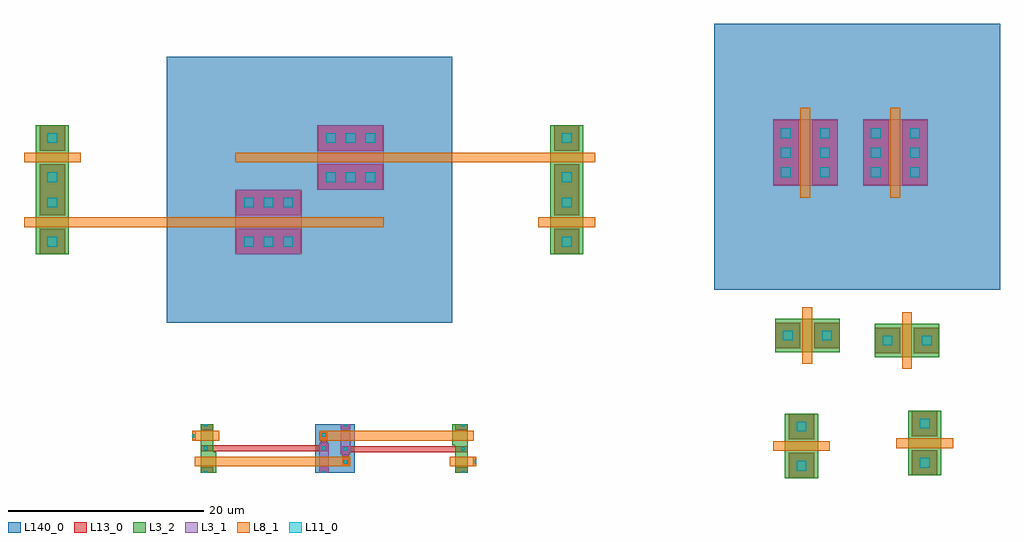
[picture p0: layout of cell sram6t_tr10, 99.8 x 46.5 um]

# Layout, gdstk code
from math import pi, radians
import gdstk
lib = gdstk.Library(unit=1e-6, precision=1e-09)
def R(c, l, rs):  # rectangles x0, y0, x1, y1
    for r in rs: c.add(gdstk.rectangle(r[:2], r[2:], *l))
def A(c, l, x, y, w, h, nx, ny, dx, dy):  # array of equal rectangles
    R(c, l, [(x+i*dx, y+j*dy, x+i*dx+w, y+j*dy+h) for i in range(nx) for j in range(ny)])
def P(c, l, *ps):  # polygons
    for p in ps: c.add(gdstk.Polygon(p, *l))
L3_1 = (3, 1)
L3_2 = (3, 2)
L8_1 = (8, 1)
L11_0 = (11, 0)
L13_0 = (13, 0)
L140_0 = (140, 0)

fet_p = lib.new_cell('fet_p')
R(fet_p, L3_1, [(-3.3,-3.4,3.3,3.4)])
A(fet_p, L11_0, -2.5, -2.5, 1, 1, 1, 3, 0, 2)
A(fet_p, L11_0, 1.5, -2.5, 1, 1, 1, 3, 0, 2)
R(fet_p, L13_0, [(-3.3,-3.3,-0.7,3.3), (0.7,-3.3,3.3,3.3)])
fet_p.add(gdstk.FlexPath([(0,-4.6),(0,4.6)], 1, ends="flush", simple_path=True, layer=8, datatype=1))  # L8_1

fet_n = lib.new_cell('fet_n')
R(fet_n, L3_2, [(-3.3,-1.7,3.3,1.7)])
R(fet_n, L11_0, [(-2.5,-0.5,-1.5,0.5), (1.5,-0.5,2.5,0.5)])
R(fet_n, L13_0, [(-3.3,-1.3,-0.7,1.3), (0.7,-1.3,3.3,1.3)])
fet_n.add(gdstk.FlexPath([(0,-2.9),(0,2.9)], 1, ends="flush", simple_path=True, layer=8, datatype=1))  # L8_1

sram6t_tr10 = lib.new_cell('sram6t_tr10')
R(sram6t_tr10, L3_1, [(-32.417,64.25,-31.417,67.366), (-30.234,66.116,-29.234,69.216)])
R(sram6t_tr10, L3_2, [(-44.517,64.25,-43.233,69.216), (-43.233,64.25,-42.933,66.4), (-18.5,64.25,-17.217,69.216), (-18.8,67.066,-18.5,69.216)])
R(sram6t_tr10, L8_1, [(-45.117,64.933,-29.234,65.933), (-19.083,64.933,-16.35,65.933), (-45.383,67.55,-42.633,68.55), (-32.417,67.55,-16.6,68.55)])
R(sram6t_tr10, L11_0, [(-44.2,64.25,-43.833,64.433), (-32.1,64.25,-31.734,64.433), (-17.9,64.25,-17.533,64.433), (-29.9,65.183,-29.534,65.55), (-16.533,65.25,-16.35,65.616), (-17.9,66.5,-17.533,66.866), (-29.9,66.516,-29.534,66.883), (-44.2,66.6,-43.833,66.966), (-32.117,66.6,-31.75,66.966), (-45.383,67.866,-45.2,68.233), (-32.117,67.933,-31.75,68.3), (-44.2,69.033,-43.833,69.216), (-29.917,69.033,-29.55,69.216), (-17.9,69.033,-17.533,69.216)])
R(sram6t_tr10, L13_0, [(-44.517,64.25,-43.233,64.833), (-32.417,64.25,-31.417,64.833), (-18.5,64.25,-17.217,64.833), (-16.717,64.933,-16.35,65.933), (-30.05,65.066,-29.4,67), (-30.05,66.383,-17.2,67), (-44.517,66.483,-31.6,67.1), (-32.25,66.483,-31.6,68.416), (-45.383,67.55,-45.017,68.55), (-44.517,68.633,-43.233,69.216), (-30.234,68.633,-29.234,69.216), (-18.5,68.633,-17.217,69.216)])
R(sram6t_tr10, L140_0, [(-48,79.6,-18.8,106.8), (8,83,37.2,110.2)])
P(sram6t_tr10, L140_0, [(-32.833,64.25),(-32.833,69.016),(-32.833,69.216),(-28.8,69.216),(-28.8,64.25)])
sram6t_tr10.add(gdstk.FlexPath([(-56.8,89.9),(-42.2,89.9)], 1, ends="flush", simple_path=True, layer=8, datatype=1))  # L8_1
sram6t_tr10.add(gdstk.FlexPath([(-24.6,96.5),(-10,96.5)], 1, ends="flush", simple_path=True, layer=8, datatype=1))  # L8_1
sram6t_tr10.add(gdstk.FlexPath([(-33.8,96.5),(-41,96.5)], 1, ends="flush", simple_path=True, layer=8, datatype=1))  # L8_1
sram6t_tr10.add(gdstk.FlexPath([(-25.8,89.9),(-33,89.9)], 1, ends="flush", simple_path=True, layer=8, datatype=1))  # L8_1
r = gdstk.Reference(fet_p, (-29.2,96.5), rotation=pi/2); r.repetition = gdstk.Repetition(1, 1, v1=(0,0), v2=(0,0)); sram6t_tr10.add(r)
r = gdstk.Reference(fet_p, (-37.6,89.9), rotation=pi/2); r.repetition = gdstk.Repetition(1, 1, v1=(0,0), v2=(0,0)); sram6t_tr10.add(r)
r = gdstk.Reference(fet_n, (-7.1,89.9), rotation=pi/2); r.repetition = gdstk.Repetition(1, 1, v1=(0,0), v2=(0,0)); sram6t_tr10.add(r)
r = gdstk.Reference(fet_n, (-7.1,96.5), rotation=pi/2); r.repetition = gdstk.Repetition(1, 1, v1=(0,0), v2=(0,0)); sram6t_tr10.add(r)
r = gdstk.Reference(fet_n, (-59.7,89.9), rotation=pi/2); r.repetition = gdstk.Repetition(1, 1, v1=(0,0), v2=(0,0)); sram6t_tr10.add(r)
r = gdstk.Reference(fet_n, (-59.7,96.5), rotation=pi/2); r.repetition = gdstk.Repetition(1, 1, v1=(0,0), v2=(0,0)); sram6t_tr10.add(r)
r = gdstk.Reference(fet_p, (26.5,97)); r.repetition = gdstk.Repetition(1, 1, v1=(0,0), v2=(0,0)); sram6t_tr10.add(r)
r = gdstk.Reference(fet_p, (17.3,97)); r.repetition = gdstk.Repetition(1, 1, v1=(0,0), v2=(0,0)); sram6t_tr10.add(r)
r = gdstk.Reference(fet_n, (29.5,67.3), rotation=pi/2); r.repetition = gdstk.Repetition(1, 1, v1=(0,0), v2=(0,0)); sram6t_tr10.add(r)
r = gdstk.Reference(fet_n, (27.7,77.8), rotation=pi); r.repetition = gdstk.Repetition(1, 1, v1=(0,0), v2=(0,0)); sram6t_tr10.add(r)
r = gdstk.Reference(fet_n, (16.9,67), rotation=pi/2); r.repetition = gdstk.Repetition(1, 1, v1=(0,0), v2=(0,0)); sram6t_tr10.add(r)
r = gdstk.Reference(fet_n, (17.5,78.3), rotation=pi); r.repetition = gdstk.Repetition(1, 1, v1=(0,0), v2=(0,0)); sram6t_tr10.add(r)

lib.write_gds('sram6t_tr10.gds')
